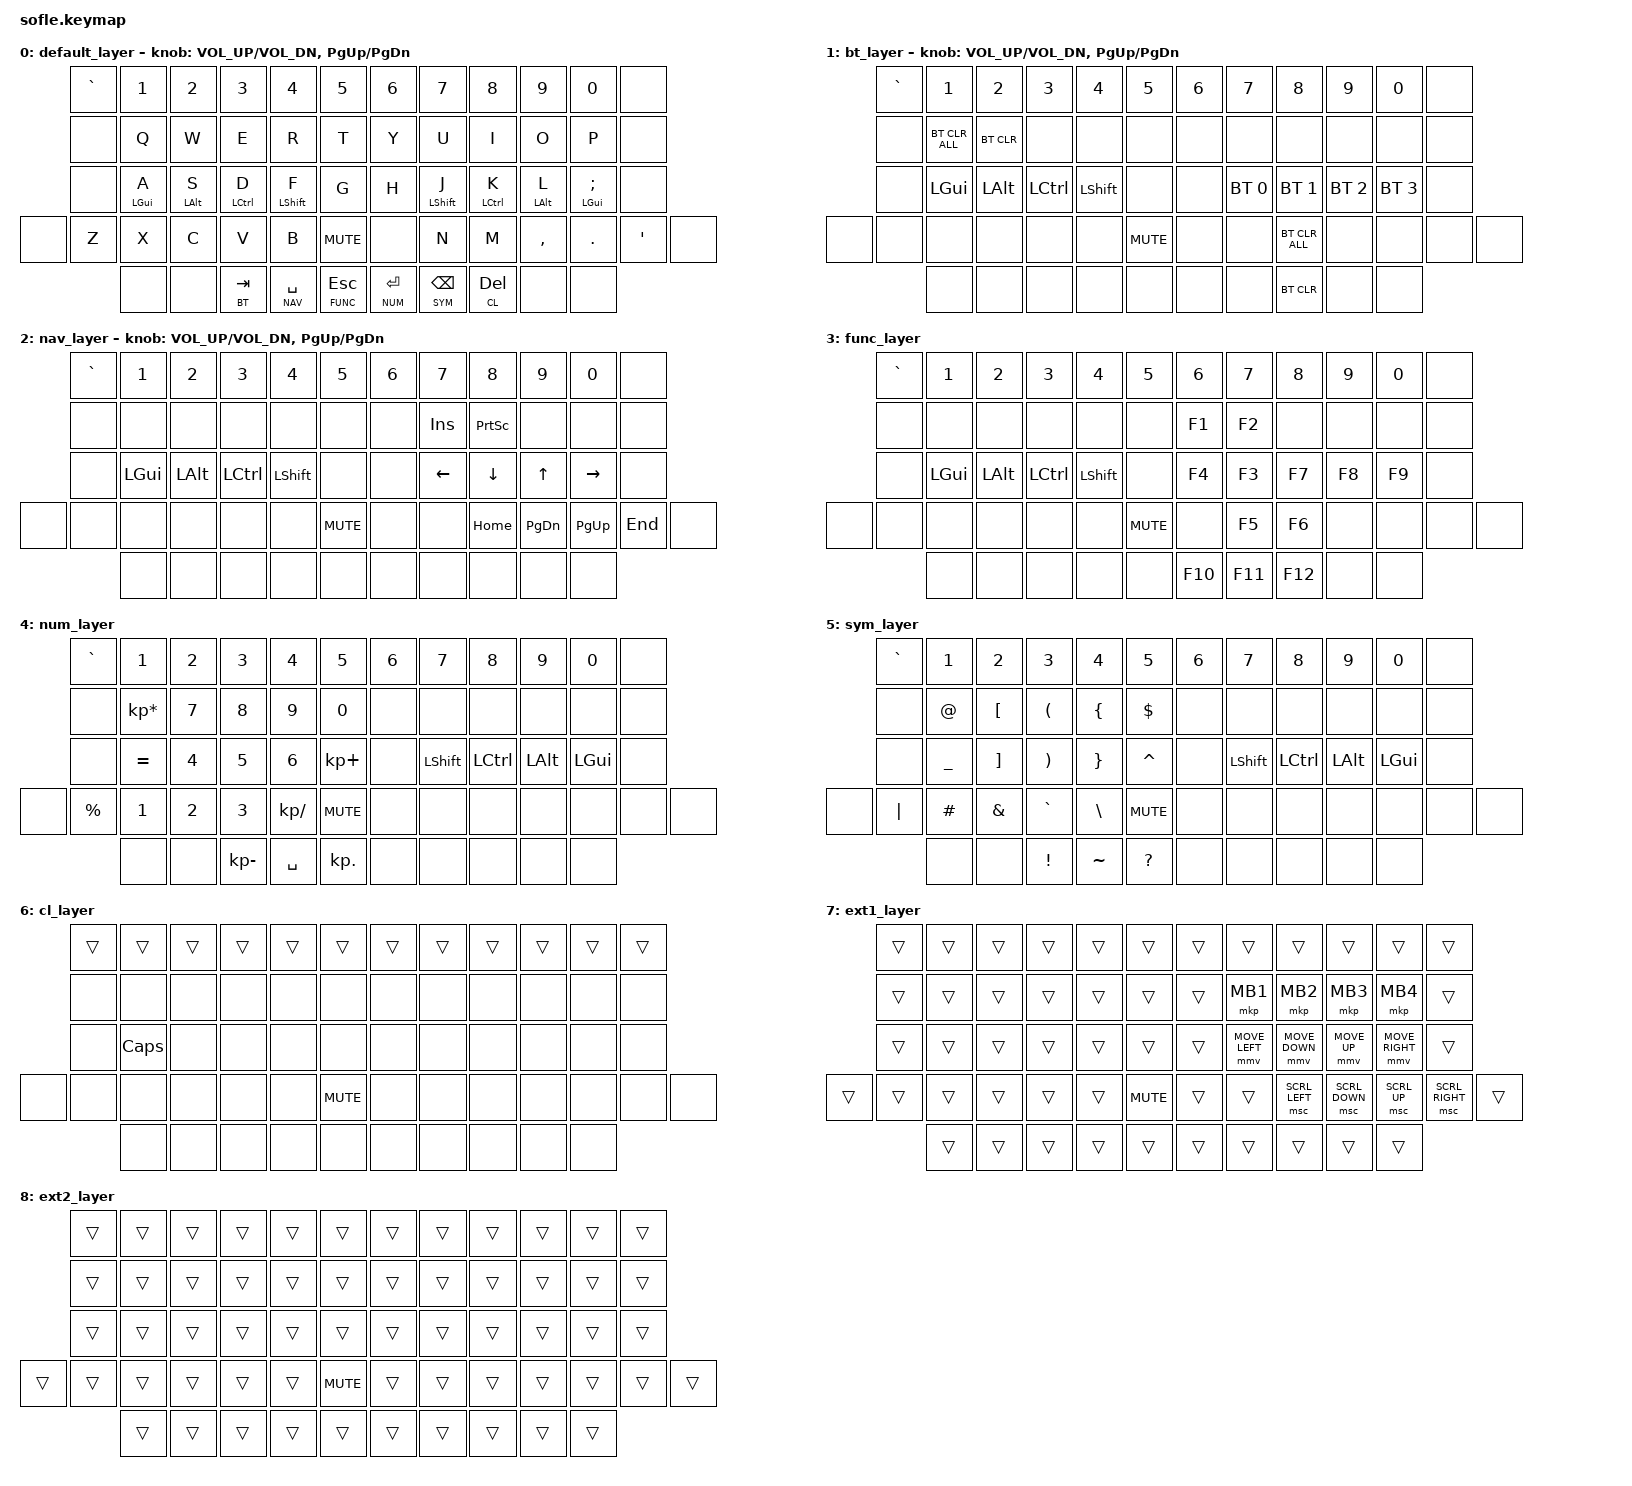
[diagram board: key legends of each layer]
/*
 * Copyright (c) 2020 The ZMK Contributors
 *
 * SPDX-License-Identifier: MIT
 */

 #include <behaviors.dtsi>
 #include <dt-bindings/zmk/keys.h>
 #include <dt-bindings/zmk/bt.h>
 #include <dt-bindings/zmk/rgb.h>
 #include <dt-bindings/zmk/ext_power.h>  

 #define ZMK_POINTING_DEFAULT_MOVE_VAL 1500  // default: 600
 #define ZMK_POINTING_DEFAULT_SCRL_VAL 20    // default: 10

 #include <dt-bindings/zmk/pointing.h>
 
 
 #define DEF 0
 #define BT 1
 #define NAV 2
 #define FUNC 3
 #define NUM 4
 #define SYM 5
 #define CL 6
 #define EXT1 7
 #define EXT2 8
 
 &lt {
     flavor = "tap-preferred";
     tapping-term-ms = <200>;
     quick-tap-ms = <0>;
   };
   
   &mt {
     flavor = "tap-preferred";
     tapping_term_ms = <200>;
     quick-tap-ms = <0>;
    };
 
 / {
         keymap {
                 compatible = "zmk,keymap";
 
                 default_layer {
 // -----------------------------------------------------------------------------------------
 // default layer
 //
                         bindings = <
                         &kp GRAVE &kp N1 &kp N2   &kp N3   &kp N4    &kp N5                           &kp N6 &kp N7    &kp N8    &kp N9   &kp N0   &none
    &none &kp Q      &kp W      &kp E       &kp R       &kp T          &kp Y &kp U       &kp I       &kp O      &kp P         &none
    &none &mt LGUI A &mt LALT S &mt LCTRL D &mt LSHFT F &kp G          &kp H &mt LSHFT J &mt LCTRL K &mt LALT L &mt LGUI SEMI &none
    &none &kp Z      &kp X      &kp C       &kp V       &kp B &kp C_MUTE &none          &kp N &kp M       &kp COMMA   &kp DOT    &kp SQT       &none
                            &none &none &lt BT TAB &lt NAV SPACE &lt FUNC ESC    &lt NUM RET &lt SYM BSPC &lt CL DEL &none &none 
                         >;
                         sensor-bindings = <&inc_dec_kp C_VOL_UP C_VOL_DN &inc_dec_kp PG_UP PG_DN>;
                 };
 
                 bt_layer {
 // -----------------------------------------------------------------------------------------
 // bt layer
 //
                         bindings = <
                         &kp GRAVE &kp N1 &kp N2   &kp N3   &kp N4    &kp N5                           &kp N6 &kp N7    &kp N8    &kp N9   &kp N0   &none
    &none &bt BT_CLR_ALL    &bt BT_CLR    &none     &none     &none              &none &none        &none        &none        &none        &none
    &none &kp LGUI &kp LALT &kp LCTRL &kp LSHFT &none              &none &bt BT_SEL 0 &bt BT_SEL 1 &bt BT_SEL 2 &bt BT_SEL 3 &none
    &none &none    &none    &none     &none     &none &kp C_MUTE &none             &none &bt BT_CLR_ALL   &none        &none        &none        &none
                                        &none &none &none &none &none        &none &none &bt BT_CLR &none &none 
                         >;
                         sensor-bindings = <&inc_dec_kp C_VOL_UP C_VOL_DN &inc_dec_kp PG_UP PG_DN>;
                 };
 
                 nav_layer {
 // -----------------------------------------------------------------------------------------
 // nav layer
 //
                         bindings = <
                         &kp GRAVE &kp N1 &kp N2   &kp N3   &kp N4    &kp N5                           &kp N6 &kp N7    &kp N8    &kp N9   &kp N0   &none
    &none &none    &none    &none     &none     &none              &none    &kp INS     &kp PSCRN     &none     &none &none
    &none &kp LGUI &kp LALT &kp LCTRL &kp LSHFT &none              &none    &kp LEFT &kp DOWN  &kp UP    &kp RIGHT  &none
    &none &none    &none    &none     &none     &none &kp C_MUTE &none             &none    &kp HOME &kp PG_DN &kp PG_UP &kp END   &none
                                        &none &none &none &none &none        &none &none &none &none &none 
                         >;
                         sensor-bindings = <&inc_dec_kp C_VOL_UP C_VOL_DN &inc_dec_kp PG_UP PG_DN>;
                 };
 
                 func_layer {
 // -----------------------------------------------------------------------------------------
 // func layer
 //
                         bindings = <
                         &kp GRAVE &kp N1 &kp N2   &kp N3   &kp N4    &kp N5                           &kp N6 &kp N7    &kp N8    &kp N9   &kp N0   &none
    &none &none    &none    &none     &none     &none              &kp F1 &kp F2 &none  &none  &none  &none
    &none &kp LGUI &kp LALT &kp LCTRL &kp LSHFT &none              &kp F4 &kp F3 &kp F7 &kp F8 &kp F9 &none
    &none &none    &none    &none     &none     &none &kp C_MUTE &none             &kp F5 &kp F6 &none  &none  &none  &none
                                        &none &none &none &none &none        &kp F10 &kp F11 &kp F12 &none &none 
                         >;
                 };
 
                 num_layer {
 // -----------------------------------------------------------------------------------------
 // num layer
 //
                         bindings = <
                         &kp GRAVE &kp N1 &kp N2   &kp N3   &kp N4    &kp N5                           &kp N6 &kp N7    &kp N8    &kp N9   &kp N0   &none
    &none &kp KP_MULTIPLY &kp N7          &kp N8       &kp N9      &kp N0                 &none &none     &none     &none    &none    &none
    &none &kp EQUAL    &kp N4          &kp N5       &kp N6      &kp KP_PLUS            &none &kp LSHFT &kp LCTRL &kp LALT &kp LGUI &none
    &none &kp PRCNT       &kp N1          &kp N2       &kp N3      &kp KP_DIVIDE &kp C_MUTE &none         &none &none     &none     &none    &none    &none
                                             &none &none &kp KP_MINUS &kp SPACE &kp KP_DOT             &none &none &none &none &none 
                         >;
                };
 
                 sym_layer {
 // -----------------------------------------------------------------------------------------
 // sym layer
 //
                         bindings = <
                         &kp GRAVE &kp N1 &kp N2   &kp N3   &kp N4    &kp N5                           &kp N6 &kp N7    &kp N8    &kp N9   &kp N0   &none
    &none &kp AT    &kp LBKT &kp LPAR      &kp LBRC  &kp DOLLAR             &none &none     &none     &none    &none    &none
    &none &kp UNDER &kp RBKT &kp RPAR      &kp RBRC  &kp CARET              &none &kp LSHFT &kp LCTRL &kp LALT &kp LGUI &none
    &none &kp PIPE  &kp HASH &kp AMPERSAND &kp GRAVE &kp BACKSLASH &kp C_MUTE &none         &none &none     &none     &none    &none    &none
                                &none &none &kp EXCLAMATION &kp TILDE &kp QUESTION     &none &none &none &none &none 
                         >;
                 };
 
                 cl_layer {
 // -----------------------------------------------------------------------------------------
 // cl layer
 //
                         bindings = <
    &trans &trans      &trans &trans &trans &trans           &trans &trans &trans &trans &trans &trans
    &none &none        &none &none &none &none              &none &none &none &none &none &none
    &none &kp CAPSLOCK &none &none &none &none              &none &none &none &none &none &none
    &none &none        &none &none &none &none  &kp C_MUTE &none             &none &none &none &none &none &none
                                  &none &none &none &none &none        &none &none &none &none &none 
                         >;
                 };

                 ext1_layer {
 // -----------------------------------------------------------------------------------------
 // spare layer 1 - mouse
 //
                         bindings = <
    &trans &trans &trans &trans &trans &trans                     &trans &trans        &trans        &trans      &trans          &trans
    &trans &trans &trans &trans &trans &trans                     &trans &mkp MB1       &mkp MB2      &mkp MB3    &mkp MB4        &trans
    &trans &trans &trans &trans &trans &trans                     &trans &mmv MOVE_LEFT &mmv MOVE_DOWN &mmv MOVE_UP &mmv MOVE_RIGHT &trans
    &trans &trans &trans &trans &trans &trans &kp C_MUTE &trans           &trans &msc SCRL_LEFT &msc SCRL_DOWN &msc SCRL_UP &msc SCRL_RIGHT &trans
                                  &trans &trans &trans &trans &trans        &trans &trans &trans &trans &trans 
                         >;
                 };

                 ext2_layer {
 // -----------------------------------------------------------------------------------------
 // spare layer 2 (unassigned, future use)
 //
                         bindings = <
    &trans &trans &trans &trans &trans &trans                     &trans &trans &trans &trans &trans &trans
    &trans &trans &trans &trans &trans &trans                     &trans &trans &trans &trans &trans &trans
    &trans &trans &trans &trans &trans &trans                     &trans &trans &trans &trans &trans &trans
    &trans &trans &trans &trans &trans &trans &kp C_MUTE &trans           &trans &trans &trans &trans &trans &trans
                                  &trans &trans &trans &trans &trans        &trans &trans &trans &trans &trans 
                         >;
                 };

         };
 };
